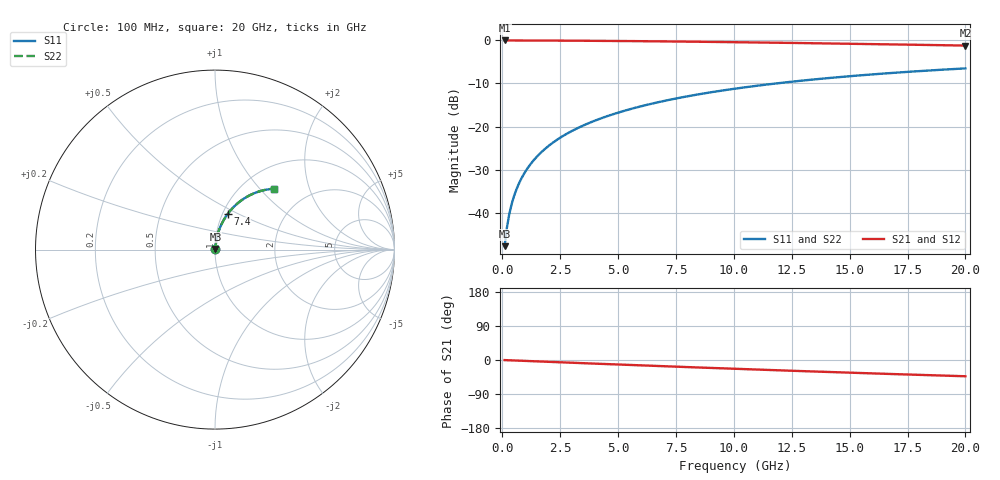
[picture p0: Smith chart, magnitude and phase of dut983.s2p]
! Touchstone file exported from HFSS 2026.1.0
!  File:  C:/ffzhzh/LocalFiles/Ansys_Project_Files/temp_train_TMRDL_983_1783159222_22436.aedt
!  Generated:  06:01:42 PM Jul  4, 2026
!  Design:  TMRDL
!  Project:  temp_train_TMRDL_983_1783159222_22436
! Variables:
!  h_bsmrdl = 2um
!  h_ox = 20um
!  h_rdl = 5um
!  h_sub = 80um
!  h_tmrdl = 5.32um
!  h_tsv = 80um
!  h_via = 3um
!  l_bsmrdl = 300um
!  l_sub = 969.36um
!  l_tmrdl = 569.36um
!  m_sub = 200um
!  pitch = 55.33um
!  r_tsv = 6um
!  s_tmrdl = 10um
!  w_bsmrdl = 18um
!  w_sub = 500um
!  w_tmrdl = 14.48um
!  x_tsv_center1 = 576.6um
!  x_tsv_center2 = 894.6um
!  x_tsv_center3 = 1478.44um
!  x_tsv_center4 = 1796.44um
!  x_tsv_center5 = 2380.28um
!  x_tsv_center6 = 2698.28um
# GHz S MA R 50.000000
! Terminal data exported
! Port[1] = TM_RDL1_1_T1
! Port[2] = TM_RDL1_1_T2
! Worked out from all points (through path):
!   200 points, 100 MHz to 20 GHz, reference 50 ohm
!   highest |S21| = -0.02 dB at 100 MHz (marker M1); lowest = -1.2 dB at 20 GHz (marker M2)
!   group delay of S21, straight-line fit = 5.97 ps
!   lowest |S11| = -47.7 dB at 100 MHz (marker M3), VSWR 1.01, Z = 50.3 + j0.311 ohm
!   |S11| at or under -10 dB: start of sweep to 11.81 GHz
!   |S22| runs from -47.7 to -6.5 dB; largest |S21 - S12| = 3.7e-15
!   S11 on the Smith chart (normalised r, x): 100 MHz: 1.01, +0.01; 7.4 GHz: 1.06, +0.44; 20 GHz: 1.38, +1.20
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0.1  0.004111 48.8  0.9973 -0.2  0.9973 -0.2  0.004111 48.8
! Gamma 0 0 0 0
! Port Impedance 50 0 50 0
0.2  0.006761 65.3  0.9972 -0.5  0.9972 -0.5  0.006761 65.3
0.3  0.009618 72.0  0.9971 -0.7  0.9971 -0.7  0.009618 72.0
0.4  0.01253 75.6  0.997 -1.0  0.997 -1.0  0.01253 75.6
0.5  0.01545 77.7  0.9969 -1.2  0.9969 -1.2  0.01545 77.7
0.7  0.02135 80.0  0.9967 -1.7  0.9967 -1.7  0.02135 80.0
0.8  0.0243 80.7  0.9966 -2.0  0.9966 -2.0  0.0243 80.7
1  0.03022 81.5  0.9964 -2.4  0.9964 -2.4  0.03022 81.5
1.2  0.03615 81.9  0.9961 -2.9  0.9961 -2.9  0.03615 81.9
1.4  0.04206 82.0  0.9957 -3.4  0.9957 -3.4  0.04206 82.0
1.7  0.05092 81.8  0.9951 -4.1  0.9951 -4.1  0.05092 81.9
2  0.05974 81.5  0.9945 -4.8  0.9945 -4.8  0.05974 81.5
2.7  0.08015 80.4  0.9925 -6.5  0.9925 -6.5  0.08015 80.4
3.5  0.1031 78.9  0.9898 -8.4  0.9898 -8.4  0.1031 78.9
4.2  0.1229 77.4  0.987 -10.1  0.987 -10.1  0.1229 77.4
5  0.1451 75.7  0.9834 -11.9  0.9834 -11.9  0.1451 75.7
6.8  0.1936 71.8  0.9739 -16.0  0.9739 -16.0  0.1936 71.8
7.4  0.2092 70.5  0.9703 -17.4  0.9703 -17.4  0.2092 70.6
10.1  0.2766 64.9  0.9522 -23.3  0.9522 -23.3  0.2766 64.9
13.4  0.3511 58.2  0.9266 -30.2  0.9266 -30.2  0.3511 58.2
16.7  0.4167 51.8  0.8987 -36.8  0.8987 -36.8  0.4167 51.8
20  0.4731 45.8  0.8703 -42.9  0.8703 -42.9  0.4731 45.8
